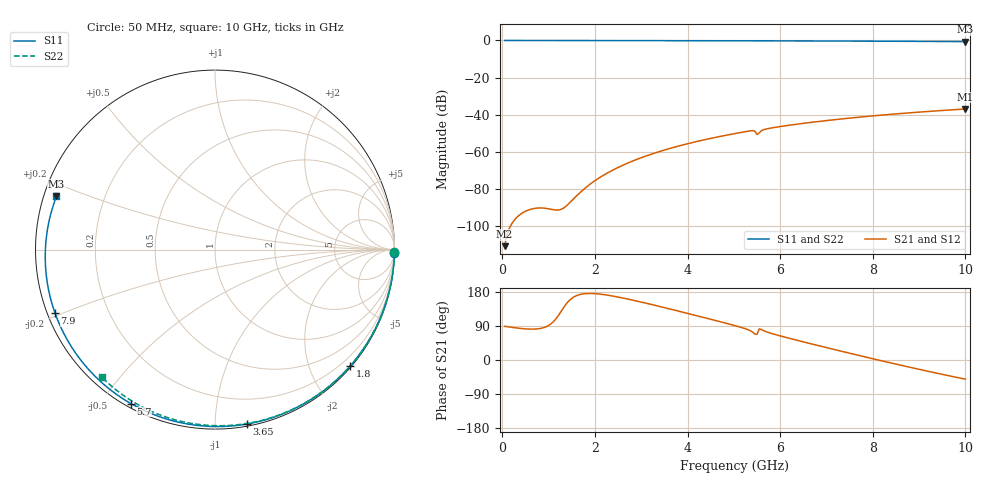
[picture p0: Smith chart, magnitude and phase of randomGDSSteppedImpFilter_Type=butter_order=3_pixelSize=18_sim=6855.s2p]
! freq	dB(S11)	phase(S11)	dB(S12)	phase(S12)
!  dB(S21)	phase(S21)	dB(S22)	phase(S22)
!S-par simulation data
#  GHz  S  DB  R 50
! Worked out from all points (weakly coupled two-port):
!   200 points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, 50 MHz to 10 GHz, reference 50 ohm
!   highest |S21| = -36.82 dB at 10 GHz (marker M1); lowest = -110.6 dB at 50 MHz (marker M2)
!   lowest |S11| = -0.6 dB at 10 GHz (marker M3), VSWR 28.26, Z = 1.82 + j8.14 ohm
!   |S11| at or under -10 dB: nowhere
!   |S22| runs from -0.4 to 0.0 dB; largest |S21 - S12| = 0
!   S11 on the Smith chart (normalised r, x): 50 MHz: 0, -99; 1.8 GHz: 0.02, -2.69; 3.65 GHz: 0.01, -1.20; 5.7 GHz: 0.02, -0.59; 7.9 GHz: 0.02, -0.19; 10 GHz: 0.04, +0.16
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0.05  -0.00 -1.2  -110.58 88.9  -110.58 88.9  -0.00 -0.8
0.85  -0.02 -19.5  -90.05 83.9  -90.05 83.9  -0.02 -12.8
1.75  -0.05 -39.6  -80.19 174.6  -80.19 174.6  -0.03 -26.2
1.8  -0.05 -40.7  -79.14 175.3  -79.14 175.3  -0.03 -27.0
2.1  -0.06 -47.3  -73.75 174.0  -73.75 174.0  -0.04 -31.4
2.45  -0.07 -54.8  -68.88 167.3  -68.88 167.3  -0.05 -36.4
2.9  -0.08 -64.3  -63.98 155.7  -63.98 155.7  -0.06 -42.9
3.4  -0.10 -74.6  -59.67 141.2  -59.67 141.2  -0.07 -50.0
3.65  -0.11 -79.6  -57.83 133.7  -57.83 133.7  -0.07 -53.4
4.35  -0.13 -93.4  -53.46 112.2  -53.46 112.2  -0.09 -63.0
5.05  -0.16 -106.7  -49.92 89.8  -49.92 89.8  -0.11 -72.3
5.4  -0.18 -113.3  -48.49 74.1  -48.49 74.1  -0.12 -76.9
5.45  -0.19 -114.2  -48.66 68.7  -48.66 68.7  -0.13 -77.5
5.5  -0.21 -115.1  -50.54 67.9  -50.54 67.9  -0.13 -78.1
5.6  -0.20 -116.8  -48.43 79.9  -48.43 79.9  -0.13 -79.4
5.7  -0.20 -118.7  -47.58 74.6  -47.58 74.6  -0.13 -80.7
6.7  -0.26 -136.8  -43.94 41.8  -43.94 41.8  -0.18 -93.2
7.3  -0.31 -147.6  -42.25 23.8  -42.25 23.8  -0.21 -100.4
7.9  -0.36 -158.4  -40.77 6.2  -40.77 6.2  -0.25 -107.5
8.35  -0.41 -166.6  -39.79 -6.6  -39.79 -6.6  -0.29 -112.8
9.2  -0.51 177.4  -38.15 -30.0  -38.15 -30.0  -0.36 -122.5
10  -0.61 161.5  -36.82 -50.6  -36.82 -50.6  -0.45 -131.6
